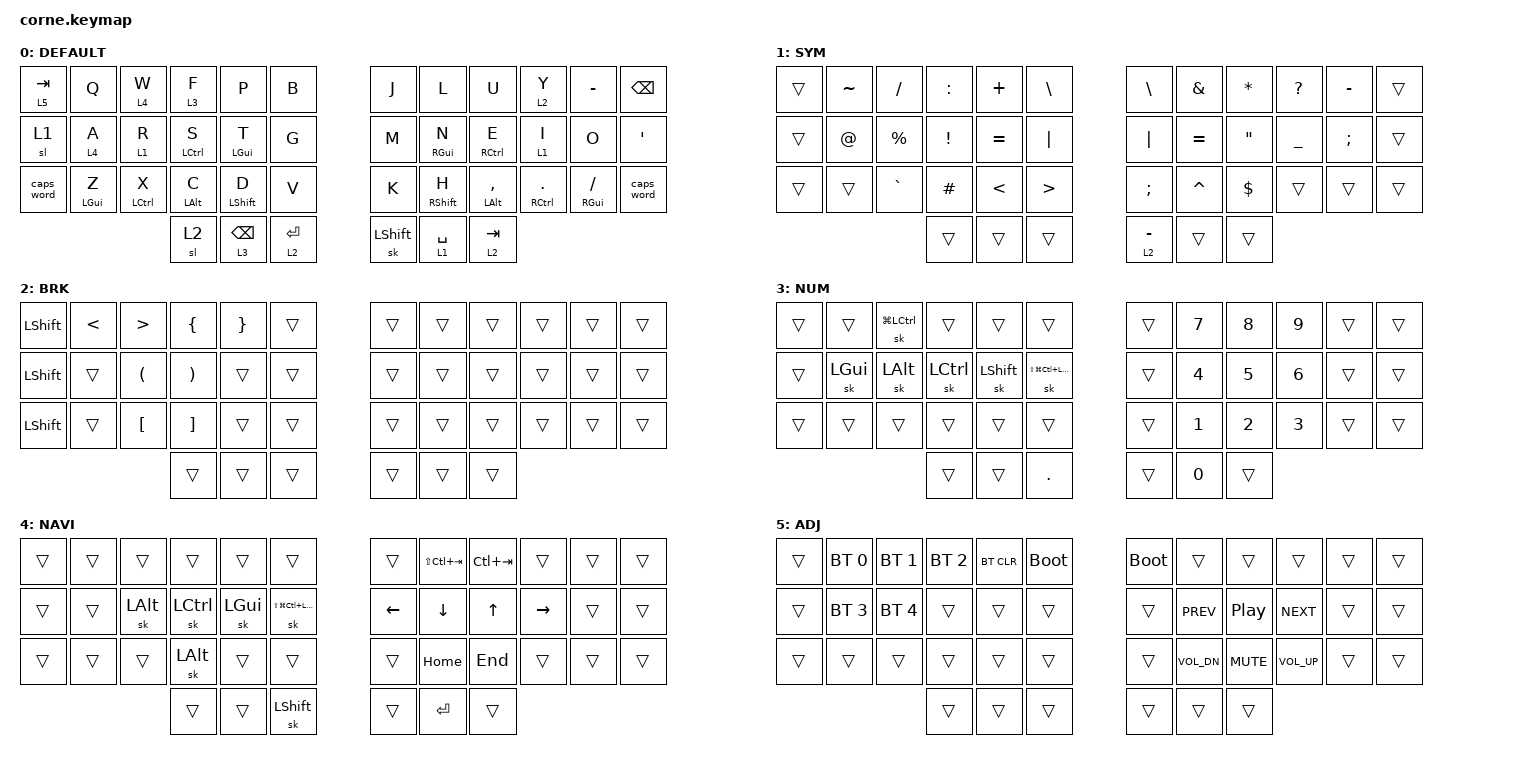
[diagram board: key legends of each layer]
/*
 * Copyright (c) 2020 The ZMK Contributors
 *
 * SPDX-License-Identifier: MIT
 */

#include <behaviors.dtsi>
#include <dt-bindings/zmk/keys.h>
#include <dt-bindings/zmk/bt.h>

&lt {
    tapping-term-ms = <200>;
};

&sl {
    release-after-ms = <2000>;
};

&caps_word {
  continue-list = <UNDERSCORE MINUS>;
};
/ {
  combos {
    compatible = "zmk,combos";
      // -----------------------------------------------------------------------------------------
      // |  0  |  Q  |  W  |  E  |  R  |  T  |   |  Y  |  U   |  I  |  O  |  P  | BKSP |
      // |  12 |  A  |  S  |  D  |  F  |  G  |   |  H  |  J   |  K  |  L  |  ;  |  '   |
      // |  24 |  Z  |  X  |  C  |  V  |  B  |   |  N  |  M   |  ,  |  .  |  /  | ESC  |
      //                    | GUI | LWR | SPC |   | ENT | RSE  | ALT |
    left_combo_esc {
      timeout-ms = <30>;
      key-positions = <14 15>;
      bindings = <&kp ESC>;
    };
    right_combo_esc {
      timeout-ms = <30>;
      key-positions = <20 21>;
      bindings = <&kp ESC>;
    };

    right_alt_bspc {
      timeout-ms = <30>;
      key-positions = <8 9>;
      bindings = <&kp LA(BSPC)>;
    };

    right_ctrl_bspc {
      timeout-ms = <30>;
      key-positions = <9 10>;
      bindings = <&kp LC(BSPC)>;
    };

  };
  behaviors {
    hm: homerow_mods {
      compatible = "zmk,behavior-hold-tap";
      #binding-cells = <2>;
      tapping-term-ms = <150>;
      quick-tap-ms = <0>;
      flavor = "tap-preferred";
      bindings = <&kp>, <&kp>;
    };
  };
  keymap {
    compatible = "zmk,keymap";

    default_layer {
      // -----------------------------------------------------------------------------------------
      // |  TAB |  Q  |  W  |  F  |  P  |  B  |   |  J  |  L   |  U  |  Y  |  ;  | BKSP |
      // | CTRL |  A  |  R  |  S  |  T  |  G  |   |  M  |  N   |  E  |  I  |  O  |  '   |
      // | SHFT |  Z  |  X  |  C  |  D  |  V  |   |  K  |  H   |  ,  |  .  |  /  | ESC  |
      //                    | GUI | LWR | SPC |   | ENT | RSE  | ALT |
      display-name="DEFAULT";
      bindings = <
        &lt 5 TAB     &kp Q        &lt 4 W       &lt 3 F       &kp P         &kp B   /**/    &kp J   &kp L          &kp U             &lt 2 Y       &kp MINUS        &kp BSPC
        &sl 1         &lt 4 A      &lt 1 R       &hm LCTRL S   &hm LGUI T    &kp G   /**/    &kp M   &hm RGUI N     &hm RCTRL E       &lt 1 I       &kp O           &kp SQT
        &caps_word    &hm LGUI Z   &hm LCTRL X   &hm LALT C    &hm LSHFT D   &kp V   /**/    &kp K   &hm RSHFT H    &hm LALT COMMA    &hm RCTRL DOT   &hm RGUI FSLH   &caps_word
                                                      &sl 2 &lt 3 BSPC &lt 2 RET   &sk LSHFT &lt 1 SPC &lt 2 TAB
      >;
    };
    sym_layer {
      display-name="SYM";
      bindings = <
        &trans  &kp TILDE    &kp FSLH     &kp COLON    &kp PLUS     &kp BSLH       &kp BSLH   &kp AMPS    &kp STAR &kp QMARK    &kp MINUS &trans
        &trans  &kp AT       &kp PRCNT    &kp EXCL     &kp EQUAL    &kp PIPE       &kp PIPE   &kp EQUAL   &kp DQT  &kp UNDER    &kp SEMI &trans
        &trans  &trans       &kp GRAVE    &kp HASH     &kp LT       &kp GT         &kp SEMI   &kp CARET   &kp DLLR &trans       &trans &trans
                                             &trans       &trans       &trans         &lt 2 MINUS     &trans   &trans
      >;
    };

    brk_layer {
      display-name="BRK";
      bindings = <
      &kp LSHFT    &kp LT         &kp GT         &kp LBRC         &kp RBRC         &trans           &trans     &trans     &trans   &trans      &trans   &trans
      &kp LSHFT    &trans         &kp LPAR       &kp RPAR         &trans           &trans           &trans     &trans     &trans   &trans      &trans   &trans
      &kp LSHFT    &trans         &kp LBKT       &kp RBKT         &trans           &trans           &trans     &trans     &trans   &trans      &trans   &trans
                                             &trans       &trans       &trans         &trans     &trans   &trans
      >;
    };
    num_layer {
      display-name="NUM";
      bindings = <
        &trans  &trans       &sk LG(LCTRL) &trans       &trans      &trans                    &trans   &kp N7   &kp N8 &kp N9    &trans &trans
        &trans  &sk LGUI     &sk LALT     &sk LCTRL    &sk LSHFT    &sk LS(LG(LC(LALT)))      &trans   &kp N4   &kp N5 &kp N6    &trans &trans
        &trans  &trans       &trans       &trans       &trans       &trans                    &trans   &kp N1   &kp N2 &kp N3    &trans &trans
                                             &trans       &trans       &kp DOT         &trans   &kp N0   &trans
      >;
    };
    navi_layer {
      display-name="NAVI";
      bindings = <
        &trans  &trans       &trans       &trans       &trans      &trans                       &trans     &kp LS(LC(TAB))    &kp LC(TAB) &trans    &trans &trans
        &trans  &trans       &sk LALT     &sk LCTRL    &sk LGUI    &sk LS(LG(LC(LALT)))         &kp LEFT   &kp DOWN           &kp UP      &kp RIGHT &trans &trans
        &trans  &trans       &trans       &sk LALT     &trans      &trans                       &trans     &kp HOME           &kp END     &trans    &trans &trans
                                             &trans       &trans      &sk LSHFT      &trans     &kp RET            &trans
      >;
    };
    adjust_layer {
      display-name= "ADJ";
      bindings = <
          &trans      &bt BT_SEL 0     &bt BT_SEL 1     &bt BT_SEL 2     &bt BT_CLR       &bootloader             &bootloader       &trans             &trans         &trans              &trans     &trans
          &trans      &bt BT_SEL 3     &bt BT_SEL 4     &trans           &trans           &trans                  &trans            &kp C_PREV         &kp C_PP       &kp C_NEXT          &trans     &trans
          &trans      &trans           &trans           &trans           &trans           &trans                  &trans            &kp C_VOL_DN       &kp C_MUTE     &kp C_VOL_UP        &trans     &trans
                                                                &trans       &trans       &trans         &trans     &trans   &trans
      >;
    };
  };
};
